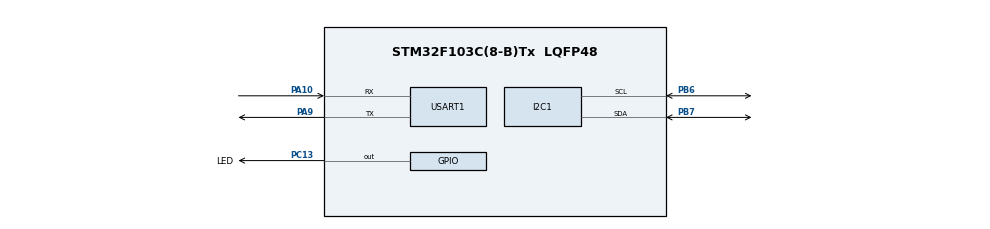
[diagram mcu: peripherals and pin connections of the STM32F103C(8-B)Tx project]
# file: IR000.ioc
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I2C1.I2C_Mode=I2C_Standard
Mcu.Family=STM32F1
Mcu.Name=STM32F103C(8-B)Tx
Mcu.Package=LQFP48
NVIC.PriorityGroup=NVIC_PRIORITYGROUP_4
PA10.Mode=Asynchronous
PA10.Signal=USART1_RX
PA9.Mode=Asynchronous
PA9.Signal=USART1_TX
PB6.Mode=I2C
PB6.Signal=I2C1_SCL
PB7.Mode=I2C
PB7.Signal=I2C1_SDA
PC13-TAMPER-RTC.GPIO_Label=LED
PC13-TAMPER-RTC.Signal=GPIO_Output
ProjectManager.HeapSize=0x200
ProjectManager.StackSize=0x400
ProjectManager.TargetToolchain=STM32CubeIDE
RCC.APB1Freq_Value=8000000
RCC.APB2Freq_Value=8000000
USART1.VirtualMode=VM_ASYNC
VP_SYS_VS_ND.Mode=No_Debug
board=custom

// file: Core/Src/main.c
/* USER CODE BEGIN Header */
/**
  ******************************************************************************
  * @file           : main.c
  * @brief          : Main program body
  ******************************************************************************
  * @attention
  *
  * Copyright (c) 2022 STMicroelectronics.
  * All rights reserved.
  *
  * This software is licensed under terms that can be found in the LICENSE file
  * in the root directory of this software component.
  * If no LICENSE file comes with this software, it is provided AS-IS.
  *
  ******************************************************************************
  */
/* USER CODE END Header */
#include "main.h"

/* USER CODE BEGIN Includes */
#include "liquidcrystal_i2c.h"
#include <stdio.h>
#include <string.h>
/* USER CODE END Includes */

 I2C_HandleTypeDef hi2c1;

UART_HandleTypeDef huart1;

void SystemClock_Config(void);
static void MX_GPIO_Init(void);
static void MX_I2C1_Init(void);
static void MX_USART1_UART_Init(void);
/* USER CODE BEGIN PFP */
void lcd_clear(void);
void lcd_display(char* msg);
/* USER CODE END PFP */

int main(void)
{

  /* MCU Configuration--------------------------------------------------------*/

  /* Reset of all peripherals, Initializes the Flash interface and the Systick. */
  HAL_Init();

  /* Configure the system clock */
  SystemClock_Config();

  /* Initialize all configured peripherals */
  MX_GPIO_Init();
  MX_I2C1_Init();
  MX_USART1_UART_Init();
  /* USER CODE BEGIN 2 */

  HD44780_Init(4);

  lcd_clear();

  /* USER CODE END 2 */

  /* Infinite loop */
  while (1)
  {

  }
}

void SystemClock_Config(void)
{
  RCC_OscInitTypeDef RCC_OscInitStruct = {0};
  RCC_ClkInitTypeDef RCC_ClkInitStruct = {0};

  /** Initializes the RCC Oscillators according to the specified parameters
  * in the RCC_OscInitTypeDef structure.
  */
  RCC_OscInitStruct.OscillatorType = RCC_OSCILLATORTYPE_HSI;
  RCC_OscInitStruct.HSIState = RCC_HSI_ON;
  RCC_OscInitStruct.HSICalibrationValue = RCC_HSICALIBRATION_DEFAULT;
  RCC_OscInitStruct.PLL.PLLState = RCC_PLL_NONE;
  if (HAL_RCC_OscConfig(&RCC_OscInitStruct) != HAL_OK)
  {
    Error_Handler();
  }

  /** Initializes the CPU, AHB and APB buses clocks
  */
  RCC_ClkInitStruct.ClockType = RCC_CLOCKTYPE_HCLK|RCC_CLOCKTYPE_SYSCLK
                              |RCC_CLOCKTYPE_PCLK1|RCC_CLOCKTYPE_PCLK2;
  RCC_ClkInitStruct.SYSCLKSource = RCC_SYSCLKSOURCE_HSI;
  RCC_ClkInitStruct.AHBCLKDivider = RCC_SYSCLK_DIV1;
  RCC_ClkInitStruct.APB1CLKDivider = RCC_HCLK_DIV1;
  RCC_ClkInitStruct.APB2CLKDivider = RCC_HCLK_DIV1;

  if (HAL_RCC_ClockConfig(&RCC_ClkInitStruct, FLASH_LATENCY_0) != HAL_OK)
  {
    Error_Handler();
  }
}

static void MX_I2C1_Init(void)
{

  hi2c1.Instance = I2C1;
  hi2c1.Init.ClockSpeed = 100000;
  hi2c1.Init.DutyCycle = I2C_DUTYCYCLE_2;
  hi2c1.Init.OwnAddress1 = 0;
  hi2c1.Init.AddressingMode = I2C_ADDRESSINGMODE_7BIT;
  hi2c1.Init.DualAddressMode = I2C_DUALADDRESS_DISABLE;
  hi2c1.Init.OwnAddress2 = 0;
  hi2c1.Init.GeneralCallMode = I2C_GENERALCALL_DISABLE;
  hi2c1.Init.NoStretchMode = I2C_NOSTRETCH_DISABLE;
  if (HAL_I2C_Init(&hi2c1) != HAL_OK)
  {
    Error_Handler();
  }

}

static void MX_USART1_UART_Init(void)
{

  huart1.Instance = USART1;
  huart1.Init.BaudRate = 115200;
  huart1.Init.WordLength = UART_WORDLENGTH_8B;
  huart1.Init.StopBits = UART_STOPBITS_1;
  huart1.Init.Parity = UART_PARITY_NONE;
  huart1.Init.Mode = UART_MODE_TX_RX;
  huart1.Init.HwFlowCtl = UART_HWCONTROL_NONE;
  huart1.Init.OverSampling = UART_OVERSAMPLING_16;
  if (HAL_UART_Init(&huart1) != HAL_OK)
  {
    Error_Handler();
  }

}

static void MX_GPIO_Init(void)
{
  GPIO_InitTypeDef GPIO_InitStruct = {0};

  /* GPIO Ports Clock Enable */
  __HAL_RCC_GPIOC_CLK_ENABLE();
  __HAL_RCC_GPIOA_CLK_ENABLE();
  __HAL_RCC_GPIOB_CLK_ENABLE();

  /*Configure GPIO pin Output Level */
  HAL_GPIO_WritePin(LED_GPIO_Port, LED_Pin, GPIO_PIN_RESET);

  /*Configure GPIO pin : LED_Pin */
  GPIO_InitStruct.Pin = LED_Pin;
  GPIO_InitStruct.Mode = GPIO_MODE_OUTPUT_PP;
  GPIO_InitStruct.Pull = GPIO_NOPULL;
  GPIO_InitStruct.Speed = GPIO_SPEED_FREQ_LOW;
  HAL_GPIO_Init(LED_GPIO_Port, &GPIO_InitStruct);

}

/* USER CODE BEGIN 4 */
int _write(int fd, char* ptr, int len) {
    HAL_UART_Transmit(&huart1, (uint8_t *) ptr, len, HAL_MAX_DELAY);
    return len;
}

static int lcd_line;
static char lcd_msg[4][21];

void lcd_clear() {
	  HD44780_Clear();
	  lcd_msg[0][0] = 0;
	  lcd_msg[1][0] = 0;
	  lcd_msg[2][0] = 0;
	  lcd_msg[3][0] = 0;
	  lcd_line = 0;
}

void lcd_display(char* msg) {
    strncpy(lcd_msg[lcd_line], msg, 20);
    lcd_msg[lcd_line][20] = 0;
    int i = 0;
    HD44780_Clear();
    for (i = 0; i < 4; i++) {
    	int line = (i + lcd_line) % 4;
        HD44780_SetCursor(0, (i + 3) % 4);
    	HD44780_PrintStr(lcd_msg[line]);
    }
    lcd_line++;
    if (lcd_line == 4) {
    	lcd_line = 0;
    }
}
/* USER CODE END 4 */

void Error_Handler(void)
{
  __disable_irq();
  while (1)
  {
  }
}
